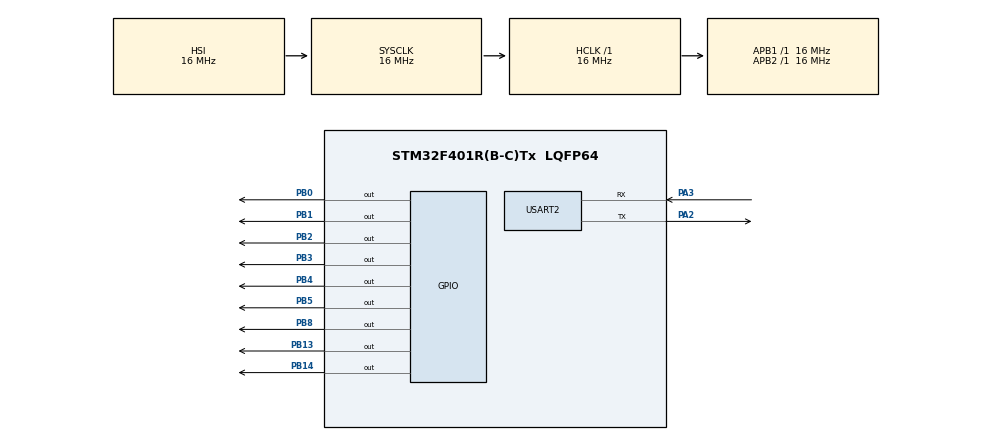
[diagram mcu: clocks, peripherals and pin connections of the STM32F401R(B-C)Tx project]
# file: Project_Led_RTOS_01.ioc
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FREERTOS.Tasks01=Led_Task_01,24,256,Start_Led_Task01,Default,NULL,Dynamic,NULL,NULL;Lcd_Task_02,24,256,Start_Lcd_Task02,Default,NULL,Dynamic,NULL,NULL;Uart_Task_03,24,256,Start_Uart_Task03,Default,NULL,Dynamic,NULL,NULL
Mcu.Family=STM32F4
Mcu.Name=STM32F401R(B-C)Tx
Mcu.Package=LQFP64
NVIC.PriorityGroup=NVIC_PRIORITYGROUP_4
NVIC.TIM1_BRK_TIM9_IRQn=true\:15\:0\:false\:false\:true\:false\:false\:true\:true
NVIC.TimeBase=TIM1_BRK_TIM9_IRQn
NVIC.TimeBaseIP=TIM9
NVIC.USART2_IRQn=true\:5\:0\:false\:false\:true\:true\:true\:true\:true
PA13.Mode=Serial_Wire
PA13.Signal=SYS_JTMS-SWDIO
PA14.Mode=Serial_Wire
PA14.Signal=SYS_JTCK-SWCLK
PA2.Mode=Asynchronous
PA2.Signal=USART2_TX
PA3.Mode=Asynchronous
PA3.Signal=USART2_RX
PB0.Signal=GPIO_Output
PB1.Signal=GPIO_Output
PB13.Signal=GPIO_Output
PB14.Signal=GPIO_Output
PB2.Signal=GPIO_Output
PB3.Signal=GPIO_Output
PB4.Signal=GPIO_Output
PB5.Signal=GPIO_Output
PB8.Signal=GPIO_Output
PC14-OSC32_IN.Mode=LSE-External-Oscillator
PC14-OSC32_IN.Signal=RCC_OSC32_IN
PC15-OSC32_OUT.Mode=LSE-External-Oscillator
PC15-OSC32_OUT.Signal=RCC_OSC32_OUT
PH0\ -\ OSC_IN.Mode=HSE-External-Oscillator
PH0\ -\ OSC_IN.Signal=RCC_OSC_IN
PH1\ -\ OSC_OUT.Mode=HSE-External-Oscillator
PH1\ -\ OSC_OUT.Signal=RCC_OSC_OUT
ProjectManager.HeapSize=0x200
ProjectManager.StackSize=0x400
ProjectManager.TargetToolchain=STM32CubeIDE
RCC.AHBFreq_Value=16000000
RCC.APB1Freq_Value=16000000
RCC.APB2Freq_Value=16000000
RCC.CortexFreq_Value=16000000
RCC.HSE_VALUE=25000000
RCC.HSI_VALUE=16000000
RCC.SYSCLKFreq_VALUE=16000000
RCC.VCOOutputFreq_Value=192000000
USART2.VirtualMode=VM_ASYNC
VP_FREERTOS_VS_CMSIS_V2.Mode=CMSIS_V2
VP_SYS_VS_tim9.Mode=TIM9
board=custom

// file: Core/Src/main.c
/* USER CODE BEGIN Header */
/**
 ******************************************************************************
 * @file           : main.c
 * @brief          : Main program body
 ******************************************************************************
 * @attention
 *
 * Copyright (c) 2026 STMicroelectronics.
 * All rights reserved.
 *
 * This software is licensed under terms that can be found in the LICENSE file
 * in the root directory of this software component.
 * If no LICENSE file comes with this software, it is provided AS-IS.
 *
 ******************************************************************************
 */
/* USER CODE END Header */
#include "main.h"
#include "cmsis_os.h"

/* USER CODE BEGIN Includes */
#include "komal_lcd_driver.h"
#include <string.h>
/* USER CODE END Includes */

/* USER CODE BEGIN PM */
#define RED_LED_PIN       GPIO_PIN_13
#define GREEN_LED_PIN     GPIO_PIN_14
#define LED_PORT          GPIOB

#define LED_DELAY_MS    2000U
/* USER CODE END PM */

UART_HandleTypeDef huart2;

/* Definitions for Led_Task_01 */
osThreadId_t Led_Task_01Handle;
const osThreadAttr_t Led_Task_01_attributes = { .name = "Led_Task_01",
		.stack_size = 256 * 4, .priority = (osPriority_t) osPriorityNormal, };
/* Definitions for Lcd_Task_02 */
osThreadId_t Lcd_Task_02Handle;
const osThreadAttr_t Lcd_Task_02_attributes = { .name = "Lcd_Task_02",
		.stack_size = 256 * 4, .priority = (osPriority_t) osPriorityNormal, };
/* Definitions for Uart_Task_03 */
osThreadId_t Uart_Task_03Handle;
const osThreadAttr_t Uart_Task_03_attributes = { .name = "Uart_Task_03",
		.stack_size = 256 * 4, .priority = (osPriority_t) osPriorityNormal, };

void SystemClock_Config(void);
static void MX_GPIO_Init(void);
static void MX_USART2_UART_Init(void);
void Start_Led_Task01(void *argument);
void Start_Lcd_Task02(void *argument);
void Start_Uart_Task03(void *argument);

/* USER CODE BEGIN 0 */
static void UART_Debug(char *message) {
	HAL_UART_Transmit(&huart2, (uint8_t*) message, strlen(message),
			HAL_MAX_DELAY);
}
/* USER CODE END 0 */

int main(void) {

	/* MCU Configuration--------------------------------------------------------*/

	/* Reset of all peripherals, Initializes the Flash interface and the Systick. */
	HAL_Init();

	/* Configure the system clock */
	SystemClock_Config();

	/* Initialize all configured peripherals */
	MX_GPIO_Init();
	MX_USART2_UART_Init();
	/* USER CODE BEGIN 2 */

	LCD_Init();

	LCD_Clear();

	LCD_SetCursor(1, 1);
	LCD_String("RED LED: OFF   ");

	LCD_SetCursor(2, 1);
	LCD_String("GREEN LED: OFF   ");

	UART_Debug("\r\n");
	UART_Debug("Project_01 \r\n");
	UART_Debug("Red LED Pin 13 \r\n");
	UART_Debug("Green LED Pin 14 \r\n");
	UART_Debug("LCD Pins PB0 PB1 PB2 PB3 PB4 PB5 PB8 \r\n");
	UART_Debug("RTOS Tasks\r\n");
	UART_Debug("UART Debugging Pin PA2 and PA3 115200 baud rate \r\n");

	/* USER CODE END 2 */

	/* Init scheduler */
	osKernelInitialize();

	/* Create the thread(s) */
	/* creation of Led_Task_01 */
	Led_Task_01Handle = osThreadNew(Start_Led_Task01, NULL,
			&Led_Task_01_attributes);

	/* creation of Lcd_Task_02 */
	Lcd_Task_02Handle = osThreadNew(Start_Lcd_Task02, NULL,
			&Lcd_Task_02_attributes);

	/* creation of Uart_Task_03 */
	Uart_Task_03Handle = osThreadNew(Start_Uart_Task03, NULL,
			&Uart_Task_03_attributes);

	/* Start scheduler */
	osKernelStart();

	/* We should never get here as control is now taken by the scheduler */

	/* Infinite loop */
	while (1) {

	}
}

void SystemClock_Config(void) {
	RCC_OscInitTypeDef RCC_OscInitStruct = { 0 };
	RCC_ClkInitTypeDef RCC_ClkInitStruct = { 0 };

	/** Configure the main internal regulator output voltage
	 */
	__HAL_RCC_PWR_CLK_ENABLE();
	__HAL_PWR_VOLTAGESCALING_CONFIG(PWR_REGULATOR_VOLTAGE_SCALE2);

	/** Initializes the RCC Oscillators according to the specified parameters
	 * in the RCC_OscInitTypeDef structure.
	 */
	RCC_OscInitStruct.OscillatorType = RCC_OSCILLATORTYPE_HSI;
	RCC_OscInitStruct.HSIState = RCC_HSI_ON;
	RCC_OscInitStruct.HSICalibrationValue = RCC_HSICALIBRATION_DEFAULT;
	RCC_OscInitStruct.PLL.PLLState = RCC_PLL_NONE;
	if (HAL_RCC_OscConfig(&RCC_OscInitStruct) != HAL_OK) {
		Error_Handler();
	}

	/** Initializes the CPU, AHB and APB buses clocks
	 */
	RCC_ClkInitStruct.ClockType = RCC_CLOCKTYPE_HCLK | RCC_CLOCKTYPE_SYSCLK
			| RCC_CLOCKTYPE_PCLK1 | RCC_CLOCKTYPE_PCLK2;
	RCC_ClkInitStruct.SYSCLKSource = RCC_SYSCLKSOURCE_HSI;
	RCC_ClkInitStruct.AHBCLKDivider = RCC_SYSCLK_DIV1;
	RCC_ClkInitStruct.APB1CLKDivider = RCC_HCLK_DIV1;
	RCC_ClkInitStruct.APB2CLKDivider = RCC_HCLK_DIV1;

	if (HAL_RCC_ClockConfig(&RCC_ClkInitStruct, FLASH_LATENCY_0) != HAL_OK) {
		Error_Handler();
	}
}

static void MX_USART2_UART_Init(void) {

	huart2.Instance = USART2;
	huart2.Init.BaudRate = 115200;
	huart2.Init.WordLength = UART_WORDLENGTH_8B;
	huart2.Init.StopBits = UART_STOPBITS_1;
	huart2.Init.Parity = UART_PARITY_NONE;
	huart2.Init.Mode = UART_MODE_TX_RX;
	huart2.Init.HwFlowCtl = UART_HWCONTROL_NONE;
	huart2.Init.OverSampling = UART_OVERSAMPLING_16;
	if (HAL_UART_Init(&huart2) != HAL_OK) {
		Error_Handler();
	}

}

static void MX_GPIO_Init(void) {
	GPIO_InitTypeDef GPIO_InitStruct = { 0 };

	/* GPIO Ports Clock Enable */
	__HAL_RCC_GPIOC_CLK_ENABLE();
	__HAL_RCC_GPIOH_CLK_ENABLE();
	__HAL_RCC_GPIOA_CLK_ENABLE();
	__HAL_RCC_GPIOB_CLK_ENABLE();

	/*Configure GPIO pin Output Level */
	HAL_GPIO_WritePin(GPIOB,
			GPIO_PIN_0 | GPIO_PIN_1 | GPIO_PIN_2 | GPIO_PIN_13 | GPIO_PIN_14
					| GPIO_PIN_3 | GPIO_PIN_4 | GPIO_PIN_5 | GPIO_PIN_8,
			GPIO_PIN_RESET);

	/*Configure GPIO pins : PB0 PB1 PB2 PB13
	 PB14 PB3 PB4 PB5
	 PB8 */
	GPIO_InitStruct.Pin = GPIO_PIN_0 | GPIO_PIN_1 | GPIO_PIN_2 | GPIO_PIN_13
			| GPIO_PIN_14 | GPIO_PIN_3 | GPIO_PIN_4 | GPIO_PIN_5 | GPIO_PIN_8;
	GPIO_InitStruct.Mode = GPIO_MODE_OUTPUT_PP;
	GPIO_InitStruct.Pull = GPIO_NOPULL;
	GPIO_InitStruct.Speed = GPIO_SPEED_FREQ_LOW;
	HAL_GPIO_Init(GPIOB, &GPIO_InitStruct);

}

void Start_Led_Task01(void *argument) {
	/* USER CODE BEGIN 5 */
	/* Infinite loop */
	(void) argument;

	for (;;) {
		HAL_GPIO_WritePin(LED_PORT, RED_LED_PIN, GPIO_PIN_SET);
		HAL_GPIO_WritePin(LED_PORT, GREEN_LED_PIN, GPIO_PIN_SET);
		osDelay(LED_DELAY_MS);
		HAL_GPIO_WritePin(LED_PORT, RED_LED_PIN, GPIO_PIN_RESET);
		HAL_GPIO_WritePin(LED_PORT, GREEN_LED_PIN, GPIO_PIN_RESET);
		osDelay(LED_DELAY_MS);
	}
	/* USER CODE END 5 */
}

void Start_Lcd_Task02(void *argument) {
	/* USER CODE BEGIN Start_Lcd_Task02 */
	/* Infinite loop */
	GPIO_PinState redState;
	GPIO_PinState greenState;
	(void) argument;
	for (;;) {
		redState = HAL_GPIO_ReadPin(LED_PORT, RED_LED_PIN);
		greenState = HAL_GPIO_ReadPin(LED_PORT, GREEN_LED_PIN);
		LCD_SetCursor(1, 1);
		if (redState == GPIO_PIN_SET) {
			LCD_String("RED LED: ON OK  ");
		} else {
			LCD_String("RED LED: OFF  ");
		}
		LCD_SetCursor(2, 1);
		if (greenState == GPIO_PIN_SET) {
			LCD_String("GREEN LED: ON OK  ");
		} else {
			LCD_String("GREEN LED: OFF  ");
		}
		osDelay(100);
	}
	/* USER CODE END Start_Lcd_Task02 */
}

void Start_Uart_Task03(void *argument) {
	/* USER CODE BEGIN Start_Uart_Task03 */
	/* Infinite loop */
	GPIO_PinState redState;
	GPIO_PinState greenState;

	(void) argument;

	for (;;) {
		redState = HAL_GPIO_ReadPin(LED_PORT, RED_LED_PIN);
		greenState = HAL_GPIO_ReadPin(LED_PORT, GREEN_LED_PIN);

		if (redState == GPIO_PIN_SET) {
			UART_Debug("[LED] RED LED    : ON\r\n");
		} else {
			UART_Debug("[LED] RED LED    : OFF\r\n");
		}
		if (greenState == GPIO_PIN_SET) {
			UART_Debug("[LED] GREEN LED    : ON\r\n");
		} else {
			UART_Debug("[LED] GREEN LED    : OFF\r\n");
		}
		osDelay(100);
	}
	/* USER CODE END Start_Uart_Task03 */
}

void HAL_TIM_PeriodElapsedCallback(TIM_HandleTypeDef *htim) {
	if (htim->Instance == TIM9) {
		HAL_IncTick();
	}
}

void Error_Handler(void) {
	__disable_irq();
	while (1) {
	}
}
